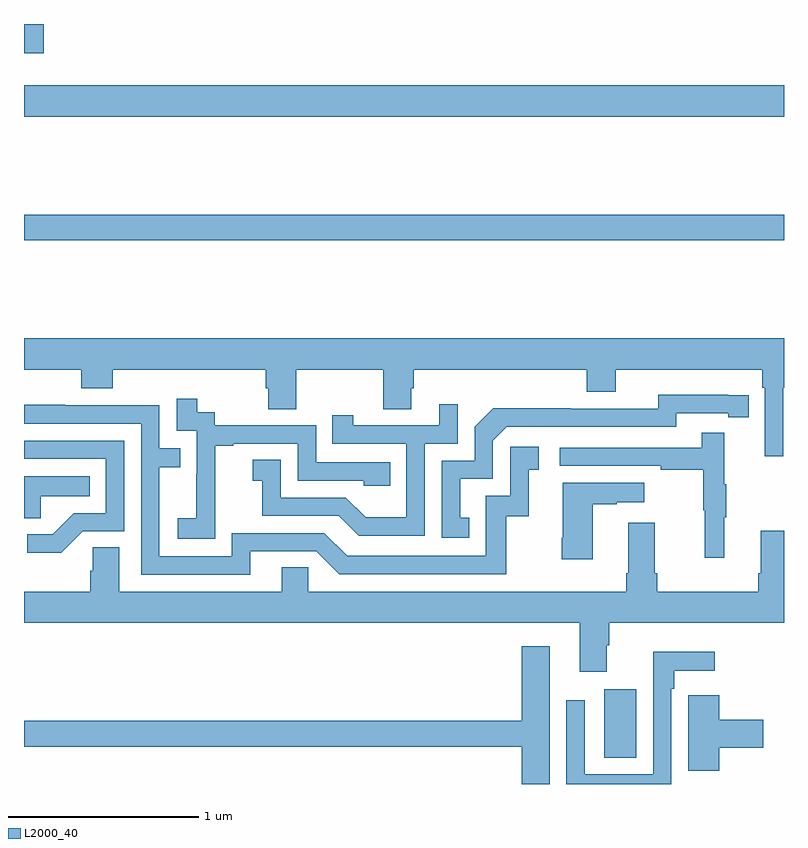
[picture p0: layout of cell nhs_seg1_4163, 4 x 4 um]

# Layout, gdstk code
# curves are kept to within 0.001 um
import gdstk
lib = gdstk.Library(unit=1e-6, precision=1e-09)
def R(c, l, rs):  # rectangles x0, y0, x1, y1
    for r in rs: c.add(gdstk.rectangle(r[:2], r[2:], *l))
def P(c, l, *ps):  # polygons
    for p in ps: c.add(gdstk.Polygon(p, *l))
L2000_40 = (2000, 40)

nhs_seg1_4163 = lib.new_cell('nhs_seg1_4163')
R(nhs_seg1_4163, L2000_40, [(340.055,568.336,340.222,568.699), (337,571.06,341,571.196), (337,571.712,341,571.876), (337,572.046,337.103,572.199)])
P(nhs_seg1_4163, L2000_40, [(340.996,570.284),(341,570.284),(341,570.544),(337,570.544),(337,570.38),(337.301,570.38),(337.301,570.281),(337.466,570.281),(337.466,570.38),(338.273,570.38),(338.273,570.282),(338.285,570.282),(338.285,570.172),(338.433,570.172),(338.433,570.38),(338.89,570.38),(338.89,570.172),(339.037,570.172),(339.037,570.282),(339.05,570.282),(339.05,570.38),(339.962,570.38),(339.962,570.263),(340.114,570.263),(340.114,570.38),(340.886,570.38),(340.886,570.284),(340.899,570.284),(340.899,569.925),(340.996,569.925)],
  [(339.344,569.601),(339.295,569.601),(339.295,569.805),(339.468,569.805),(339.468,570.006),(339.54,570.078),(340.434,570.078),(340.434,570.15),(340.706,570.15),(340.706,570.13),(340.814,570.13),(340.814,570.246),(340.338,570.247),(340.338,570.174),(339.878,570.174),(339.878,570.176),(339.47,570.176),(339.372,570.078),(339.372,569.901),(339.198,569.901),(339.198,569.496),(339.344,569.496)],
  [(338.007,569.695),(338.006,569.695),(338.006,569.979),(338.101,569.979),(338.101,569.991),(338.442,569.991),(338.442,569.796),(338.787,569.796),(338.787,569.769),(338.927,569.769),(338.927,569.892),(338.538,569.892),(338.538,570.087),(338.004,570.087),(338.004,570.156),(337.912,570.156),(337.912,570.226),(337.803,570.226),(337.803,570.057),(337.908,570.057),(337.908,569.828),(337.907,569.828),(337.907,569.599),(337.809,569.599),(337.809,569.489),(338.007,569.489)],
  [(339.108,569.991),(339.282,569.991),(339.282,570.199),(339.185,570.199),(339.185,570.087),(338.734,570.087),(338.734,570.139),(338.623,570.139),(338.623,569.991),(339.012,569.991),(339.012,569.602),(338.798,569.602),(338.694,569.706),(338.352,569.706),(338.352,569.905),(338.205,569.905),(338.205,569.795),(338.254,569.795),(338.254,569.61),(338.657,569.61),(338.762,569.505),(339.108,569.505)],
  [(338.191,569.424),(338.538,569.424),(338.658,569.304),(339.538,569.304),(339.538,569.607),(339.656,569.607),(339.656,569.853),(339.709,569.853),(339.709,569.974),(339.558,569.974),(339.558,569.715),(339.429,569.715),(339.429,569.4),(338.7,569.4),(338.58,569.52),(338.094,569.52),(338.094,569.397),(337.713,569.397),(337.713,569.866),(337.823,569.866),(337.823,569.967),(337.713,569.967),(337.713,570.192),(337.217,570.192),(337.217,570.194),(337,570.194),(337,570.096),(337.617,570.096),(337.617,569.301),(338.191,569.301)],
  [(340.685,569.603),(340.696,569.603),(340.696,569.777),(340.685,569.777),(340.685,570.049),(340.567,570.049),(340.567,569.97),(339.819,569.97),(339.819,569.874),(340.351,569.874),(340.351,569.854),(340.575,569.854),(340.575,569.64),(340.582,569.64),(340.582,569.391),(340.685,569.391)],
  [(337.308,569.529),(337.527,569.529),(337.527,570.006),(337,570.006),(337,569.91),(337.431,569.91),(337.431,569.625),(337.262,569.625),(337.151,569.514),(337.017,569.514),(337.017,569.417),(337.195,569.417)],
  [(337.089,569.714),(337.346,569.714),(337.346,569.818),(337,569.818),(337,569.599),(337.089,569.599)],
  [(339.994,569.671),(340.121,569.671),(340.121,569.681),(340.264,569.681),(340.264,569.785),(339.836,569.785),(339.836,569.494),(339.829,569.494),(339.829,569.382),(339.994,569.382)],
  [(340.066,568.928),(340.079,568.928),(340.079,569.048),(341,569.048),(341,569.533),(340.877,569.533),(340.877,569.308),(340.865,569.308),(340.865,569.212),(340.334,569.212),(340.334,569.308),(340.321,569.308),(340.321,569.575),(340.181,569.575),(340.181,569.308),(340.169,569.308),(340.169,569.212),(338.496,569.212),(338.496,569.339),(338.357,569.339),(338.357,569.212),(337.501,569.212),(337.501,569.444),(337.362,569.444),(337.362,569.321),(337.349,569.321),(337.349,569.212),(337,569.212),(337,569.048),(339.926,569.048),(339.926,568.791),(340.066,568.791)],
  [(339.766,568.924),(339.62,568.924),(339.62,568.532),(337,568.532),(337,568.396),(339.62,568.396),(339.62,568.199),(339.766,568.199)],
  [(340.407,568.7),(340.423,568.7),(340.423,568.796),(340.636,568.796),(340.636,568.894),(340.311,568.894),(340.311,568.251),(339.951,568.251),(339.951,568.639),(339.855,568.639),(339.855,568.199),(340.407,568.199)],
  [(340.658,568.391),(340.891,568.391),(340.891,568.538),(340.658,568.538),(340.658,568.666),(340.497,568.666),(340.497,568.553),(340.496,568.553),(340.496,568.27),(340.658,568.27)])

lib.write_gds('nhs_seg1_4163.gds')
